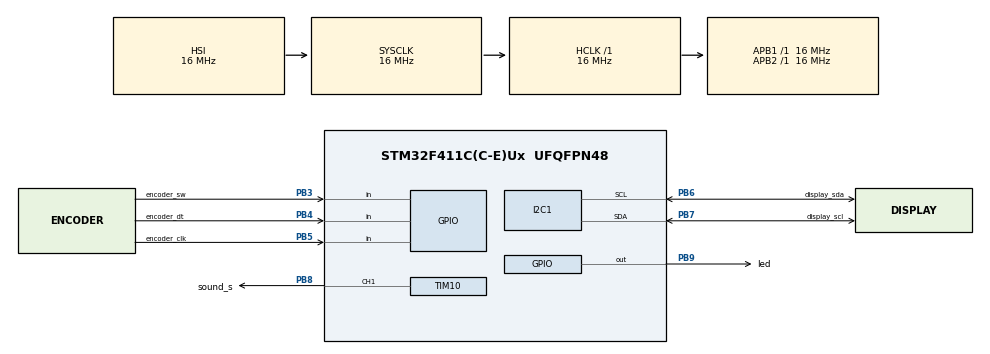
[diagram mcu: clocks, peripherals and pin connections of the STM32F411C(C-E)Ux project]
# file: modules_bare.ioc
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I2C1.I2C_Mode=I2C_Standard
Mcu.Family=STM32F4
Mcu.Name=STM32F411C(C-E)Ux
Mcu.Package=UFQFPN48
NVIC.PriorityGroup=NVIC_PRIORITYGROUP_4
PA13.Mode=Serial_Wire
PA13.Signal=SYS_JTMS-SWDIO
PA14.Mode=Serial_Wire
PA14.Signal=SYS_JTCK-SWCLK
PB3.GPIO_Label=encoder_sw
PB3.GPIO_PuPd=GPIO_PULLUP
PB3.Signal=GPIO_Input
PB4.GPIO_Label=encoder_dt
PB4.GPIO_PuPd=GPIO_PULLUP
PB4.Signal=GPIO_Input
PB5.GPIO_Label=encoder_clk
PB5.GPIO_PuPd=GPIO_PULLUP
PB5.Signal=GPIO_Input
PB6.GPIO_Label=display_sda
PB6.Mode=I2C
PB6.Signal=I2C1_SCL
PB7.GPIO_Label=display_scl
PB7.Mode=I2C
PB7.Signal=I2C1_SDA
PB8.GPIO_Label=sound_s
PB8.Signal=S_TIM10_CH1
PB9.GPIO_Label=led
PB9.Signal=GPIO_Output
ProjectManager.HeapSize=0x200
ProjectManager.StackSize=0x400
ProjectManager.TargetToolchain=CMake
RCC.AHBFreq_Value=16000000
RCC.APB1Freq_Value=16000000
RCC.APB2Freq_Value=16000000
RCC.CortexFreq_Value=16000000
RCC.HSE_VALUE=25000000
RCC.HSI_VALUE=16000000
RCC.LSE_VALUE=32768
RCC.SYSCLKFreq_VALUE=16000000
RCC.VCOOutputFreq_Value=192000000
SH.S_TIM10_CH1.0=TIM10_CH1,PWM Generation1 CH1
TIM10.Channel=TIM_CHANNEL_1
TIM10.Period=499
TIM10.Prescaler=15
TIM10.Pulse=250
VP_TIM10_VS_ClockSourceINT.Mode=Enable_Timer
board=custom

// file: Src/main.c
/* USER CODE BEGIN Header */
/**
  ******************************************************************************
  * @file           : main.c
  * @brief          : Main program body
  ******************************************************************************
  * @attention
  *
  * Copyright (c) 2026 STMicroelectronics.
  * All rights reserved.
  *
  * This software is licensed under terms that can be found in the LICENSE file
  * in the root directory of this software component.
  * If no LICENSE file comes with this software, it is provided AS-IS.
  *
  ******************************************************************************
  */
/* USER CODE END Header */
#include "main.h"
#include "i2c.h"
#include "tim.h"
#include "gpio.h"

void SystemClock_Config(void);

int main(void)
{

  /* MCU Configuration--------------------------------------------------------*/

  /* Reset of all peripherals, Initializes the Flash interface and the Systick. */
  HAL_Init();

  /* Configure the system clock */
  SystemClock_Config();

  /* Initialize all configured peripherals */
  MX_GPIO_Init();
  MX_I2C1_Init();
  MX_TIM10_Init();
  /* USER CODE BEGIN 2 */

  uint32_t timeLast = HAL_GetTick();
  uint32_t timeDelta = 0;
  uint32_t time = timeLast;

  const uint32_t ledTimePeriodMax = 250;
  const uint32_t ledTimePeriodMin = 5;
  int32_t ledTimePeriodStep = 25;
  uint32_t ledTimePeriod = ledTimePeriodMax;

  uint32_t timeLed = ledTimePeriod;

  GPIO_PinState dtLast = GPIO_PIN_SET;
  GPIO_PinState dt = GPIO_PIN_SET;

  /* USER CODE END 2 */

  /* Infinite loop */
  while (1) {

    /* USER CODE BEGIN 3 */

    time = HAL_GetTick();
    dt = HAL_GPIO_ReadPin(encoder_dt_GPIO_Port, encoder_dt_Pin);

    timeDelta = time - timeLast;

    if (dt != dtLast) {
      timeLed += ledTimePeriodStep;

      if (timeLed < ledTimePeriodMin || ledTimePeriodMax < timeLed) {
        ledTimePeriodStep = -ledTimePeriodStep;
        timeLed += ledTimePeriodStep;
        timeLed += ledTimePeriodStep;
      }

      dtLast = dt;
    }

    if (timeLed > 0) {
      timeLed -= timeDelta;
    } else {
      timeLed += ledTimePeriod;
      HAL_GPIO_TogglePin(led_GPIO_Port, led_Pin);
    }

    timeLast = time;

  }
  /* USER CODE END 3 */
}

void SystemClock_Config(void)
{
  RCC_OscInitTypeDef RCC_OscInitStruct = {0};
  RCC_ClkInitTypeDef RCC_ClkInitStruct = {0};

  /** Configure the main internal regulator output voltage
  */
  __HAL_RCC_PWR_CLK_ENABLE();
  __HAL_PWR_VOLTAGESCALING_CONFIG(PWR_REGULATOR_VOLTAGE_SCALE1);

  /** Initializes the RCC Oscillators according to the specified parameters
  * in the RCC_OscInitTypeDef structure.
  */
  RCC_OscInitStruct.OscillatorType = RCC_OSCILLATORTYPE_HSI;
  RCC_OscInitStruct.HSIState = RCC_HSI_ON;
  RCC_OscInitStruct.HSICalibrationValue = RCC_HSICALIBRATION_DEFAULT;
  RCC_OscInitStruct.PLL.PLLState = RCC_PLL_NONE;
  if (HAL_RCC_OscConfig(&RCC_OscInitStruct) != HAL_OK)
  {
    Error_Handler();
  }

  /** Initializes the CPU, AHB and APB buses clocks
  */
  RCC_ClkInitStruct.ClockType = RCC_CLOCKTYPE_HCLK|RCC_CLOCKTYPE_SYSCLK
                              |RCC_CLOCKTYPE_PCLK1|RCC_CLOCKTYPE_PCLK2;
  RCC_ClkInitStruct.SYSCLKSource = RCC_SYSCLKSOURCE_HSI;
  RCC_ClkInitStruct.AHBCLKDivider = RCC_SYSCLK_DIV1;
  RCC_ClkInitStruct.APB1CLKDivider = RCC_HCLK_DIV1;
  RCC_ClkInitStruct.APB2CLKDivider = RCC_HCLK_DIV1;

  if (HAL_RCC_ClockConfig(&RCC_ClkInitStruct, FLASH_LATENCY_0) != HAL_OK)
  {
    Error_Handler();
  }
}

void Error_Handler(void)
{
  __disable_irq();
  while (1)
  {
  }
}
